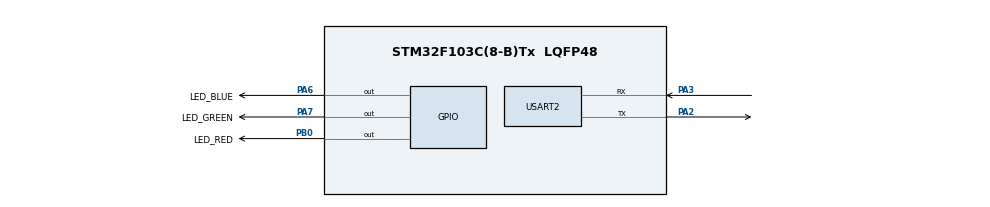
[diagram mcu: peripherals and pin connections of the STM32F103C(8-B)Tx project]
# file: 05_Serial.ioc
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Dma.Request0=USART2_TX
Dma.Request1=USART2_RX
Dma.USART2_RX.1.Direction=DMA_PERIPH_TO_MEMORY
Dma.USART2_RX.1.Instance=DMA1_Channel6
Dma.USART2_RX.1.MemDataAlignment=DMA_MDATAALIGN_BYTE
Dma.USART2_RX.1.MemInc=DMA_MINC_ENABLE
Dma.USART2_RX.1.Mode=DMA_NORMAL
Dma.USART2_RX.1.PeriphDataAlignment=DMA_PDATAALIGN_BYTE
Dma.USART2_RX.1.PeriphInc=DMA_PINC_DISABLE
Dma.USART2_RX.1.Priority=DMA_PRIORITY_LOW
Dma.USART2_TX.0.Direction=DMA_MEMORY_TO_PERIPH
Dma.USART2_TX.0.Instance=DMA1_Channel7
Dma.USART2_TX.0.MemDataAlignment=DMA_MDATAALIGN_BYTE
Dma.USART2_TX.0.MemInc=DMA_MINC_ENABLE
Dma.USART2_TX.0.Mode=DMA_NORMAL
Dma.USART2_TX.0.PeriphDataAlignment=DMA_PDATAALIGN_BYTE
Dma.USART2_TX.0.PeriphInc=DMA_PINC_DISABLE
Dma.USART2_TX.0.Priority=DMA_PRIORITY_LOW
Mcu.Family=STM32F1
Mcu.Name=STM32F103C(8-B)Tx
Mcu.Package=LQFP48
NVIC.DMA1_Channel6_IRQn=true\:0\:0\:false\:false\:true\:false\:true\:true
NVIC.DMA1_Channel7_IRQn=true\:0\:0\:false\:false\:true\:false\:true\:true
NVIC.PriorityGroup=NVIC_PRIORITYGROUP_4
NVIC.USART2_IRQn=true\:0\:0\:false\:false\:true\:true\:true\:true
PA13.Mode=Serial_Wire
PA13.Signal=SYS_JTMS-SWDIO
PA14.Mode=Serial_Wire
PA14.Signal=SYS_JTCK-SWCLK
PA2.Mode=Asynchronous
PA2.Signal=USART2_TX
PA3.Mode=Asynchronous
PA3.Signal=USART2_RX
PA6.GPIO_Label=LED_BLUE
PA6.Signal=GPIO_Output
PA7.GPIO_Label=LED_GREEN
PA7.Signal=GPIO_Output
PB0.GPIO_Label=LED_RED
PB0.Signal=GPIO_Output
ProjectManager.HeapSize=0x200
ProjectManager.StackSize=0x400
ProjectManager.TargetToolchain=STM32CubeIDE
RCC.APB1Freq_Value=8000000
RCC.APB2Freq_Value=8000000
USART2.VirtualMode=VM_ASYNC
board=custom

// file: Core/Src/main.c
/* USER CODE BEGIN Header */
/**
  ******************************************************************************
  * @file           : main.c
  * @brief          : Main program body
  ******************************************************************************
  * @attention
  *
  * Copyright (c) 2026 STMicroelectronics.
  * All rights reserved.
  *
  * This software is licensed under terms that can be found in the LICENSE file
  * in the root directory of this software component.
  * If no LICENSE file comes with this software, it is provided AS-IS.
  *
  ******************************************************************************
  */
/* USER CODE END Header */
#include "main.h"

/* USER CODE BEGIN Includes */
#include <string.h>
/* USER CODE END Includes */

UART_HandleTypeDef huart2;
DMA_HandleTypeDef hdma_usart2_tx;
DMA_HandleTypeDef hdma_usart2_rx;

/* USER CODE BEGIN PV */
uint8_t receiveData[50];
/* USER CODE END PV */

void SystemClock_Config(void);
static void MX_GPIO_Init(void);
static void MX_DMA_Init(void);
static void MX_USART2_UART_Init(void);

/* USER CODE BEGIN 0 */
void HAL_UART_RxCpltCallback(UART_HandleTypeDef *huart){
	  HAL_UART_Transmit_DMA(&huart2, receiveData, 2);
	  GPIO_PinState State = GPIO_PIN_SET;
	  if(receiveData[1] == '0'){
		  State = GPIO_PIN_RESET;
	  }
	  if(receiveData[0] == 'R'){
	  	  HAL_GPIO_WritePin(LED_RED_GPIO_Port, LED_RED_Pin, State);
	  }else if(receiveData[0] == 'G'){
		  HAL_GPIO_WritePin(LED_GREEN_GPIO_Port, LED_GREEN_Pin, State);
	  }else if(receiveData[0] == 'B'){
		  HAL_GPIO_WritePin(LED_BLUE_GPIO_Port, LED_BLUE_Pin, State);
	  }
	  HAL_UART_Receive_DMA(&huart2, receiveData, 2);
}
void HAL_UARTEx_RxEventCallback(UART_HandleTypeDef *huart, uint16_t Size){
	if(huart == &huart2){
		HAL_UART_Transmit_DMA(&huart2, receiveData, Size);

		HAL_UARTEx_ReceiveToIdle_DMA(&huart2, receiveData, sizeof(receiveData));
		__HAL_DMA_DISABLE_IT(&hdma_usart2_rx, DMA_IT_HT);
	}
}
/* USER CODE END 0 */

int main(void)
{

  /* MCU Configuration--------------------------------------------------------*/

  /* Reset of all peripherals, Initializes the Flash interface and the Systick. */
  HAL_Init();

  /* Configure the system clock */
  SystemClock_Config();

  /* Initialize all configured peripherals */
  MX_GPIO_Init();
  MX_DMA_Init();
  MX_USART2_UART_Init();
  /* USER CODE BEGIN 2 */
//  HAL_UART_Receive_DMA(&huart2, receiveData, 2);
  HAL_UARTEx_ReceiveToIdle_DMA(&huart2, receiveData, sizeof(receiveData));
  __HAL_DMA_DISABLE_IT(&hdma_usart2_rx, DMA_IT_HT);
  /* USER CODE END 2 */

  /* Infinite loop */
  /* USER CODE BEGIN WHILE */
  while (1)
  {
//	  HAL_UART_Receive(&huart2, receiveData, 2, HAL_MAX_DELAY);
//	  HAL_UART_Transmit(&huart2, receiveData, 2, 100);
//	  HAL_UART_Transmit_IT(&huart2, receiveData, 2);
//	  GPIO_PinState State = GPIO_PIN_SET;
//	  if(receiveData[1] == '0'){
//		  State = GPIO_PIN_RESET;
//	  }
//	  if(receiveData[0] == 'R'){
//	  	  HAL_GPIO_WritePin(LED_RED_GPIO_Port, LED_RED_Pin, State);
//	  }else if(receiveData[0] == 'G'){
//		  HAL_GPIO_WritePin(LED_GREEN_GPIO_Port, LED_GREEN_Pin, State);
//	  }else if(receiveData[0] == 'B'){
//		  HAL_GPIO_WritePin(LED_BLUE_GPIO_Port, LED_BLUE_Pin, State);
//	  }
//	  HAL_UART_Transmit(&huart2, (uint8_t*)message, strlen(message), 100);
//	  HAL_Delay(1000);
    /* USER CODE END WHILE */

  }
}

void SystemClock_Config(void)
{
  RCC_OscInitTypeDef RCC_OscInitStruct = {0};
  RCC_ClkInitTypeDef RCC_ClkInitStruct = {0};

  /** Initializes the RCC Oscillators according to the specified parameters
  * in the RCC_OscInitTypeDef structure.
  */
  RCC_OscInitStruct.OscillatorType = RCC_OSCILLATORTYPE_HSI;
  RCC_OscInitStruct.HSIState = RCC_HSI_ON;
  RCC_OscInitStruct.HSICalibrationValue = RCC_HSICALIBRATION_DEFAULT;
  RCC_OscInitStruct.PLL.PLLState = RCC_PLL_NONE;
  if (HAL_RCC_OscConfig(&RCC_OscInitStruct) != HAL_OK)
  {
    Error_Handler();
  }

  /** Initializes the CPU, AHB and APB buses clocks
  */
  RCC_ClkInitStruct.ClockType = RCC_CLOCKTYPE_HCLK|RCC_CLOCKTYPE_SYSCLK
                              |RCC_CLOCKTYPE_PCLK1|RCC_CLOCKTYPE_PCLK2;
  RCC_ClkInitStruct.SYSCLKSource = RCC_SYSCLKSOURCE_HSI;
  RCC_ClkInitStruct.AHBCLKDivider = RCC_SYSCLK_DIV1;
  RCC_ClkInitStruct.APB1CLKDivider = RCC_HCLK_DIV1;
  RCC_ClkInitStruct.APB2CLKDivider = RCC_HCLK_DIV1;

  if (HAL_RCC_ClockConfig(&RCC_ClkInitStruct, FLASH_LATENCY_0) != HAL_OK)
  {
    Error_Handler();
  }
}

static void MX_USART2_UART_Init(void)
{

  huart2.Instance = USART2;
  huart2.Init.BaudRate = 115200;
  huart2.Init.WordLength = UART_WORDLENGTH_8B;
  huart2.Init.StopBits = UART_STOPBITS_1;
  huart2.Init.Parity = UART_PARITY_NONE;
  huart2.Init.Mode = UART_MODE_TX_RX;
  huart2.Init.HwFlowCtl = UART_HWCONTROL_NONE;
  huart2.Init.OverSampling = UART_OVERSAMPLING_16;
  if (HAL_UART_Init(&huart2) != HAL_OK)
  {
    Error_Handler();
  }

}

static void MX_DMA_Init(void)
{

  /* DMA controller clock enable */
  __HAL_RCC_DMA1_CLK_ENABLE();

  /* DMA interrupt init */
  /* DMA1_Channel6_IRQn interrupt configuration */
  HAL_NVIC_SetPriority(DMA1_Channel6_IRQn, 0, 0);
  HAL_NVIC_EnableIRQ(DMA1_Channel6_IRQn);
  /* DMA1_Channel7_IRQn interrupt configuration */
  HAL_NVIC_SetPriority(DMA1_Channel7_IRQn, 0, 0);
  HAL_NVIC_EnableIRQ(DMA1_Channel7_IRQn);

}

static void MX_GPIO_Init(void)
{
  GPIO_InitTypeDef GPIO_InitStruct = {0};

  /* GPIO Ports Clock Enable */
  __HAL_RCC_GPIOA_CLK_ENABLE();
  __HAL_RCC_GPIOB_CLK_ENABLE();

  /*Configure GPIO pin Output Level */
  HAL_GPIO_WritePin(GPIOA, LED_BLUE_Pin|LED_GREEN_Pin, GPIO_PIN_RESET);

  /*Configure GPIO pin Output Level */
  HAL_GPIO_WritePin(LED_RED_GPIO_Port, LED_RED_Pin, GPIO_PIN_RESET);

  /*Configure GPIO pins : LED_BLUE_Pin LED_GREEN_Pin */
  GPIO_InitStruct.Pin = LED_BLUE_Pin|LED_GREEN_Pin;
  GPIO_InitStruct.Mode = GPIO_MODE_OUTPUT_PP;
  GPIO_InitStruct.Pull = GPIO_NOPULL;
  GPIO_InitStruct.Speed = GPIO_SPEED_FREQ_LOW;
  HAL_GPIO_Init(GPIOA, &GPIO_InitStruct);

  /*Configure GPIO pin : LED_RED_Pin */
  GPIO_InitStruct.Pin = LED_RED_Pin;
  GPIO_InitStruct.Mode = GPIO_MODE_OUTPUT_PP;
  GPIO_InitStruct.Pull = GPIO_NOPULL;
  GPIO_InitStruct.Speed = GPIO_SPEED_FREQ_LOW;
  HAL_GPIO_Init(LED_RED_GPIO_Port, &GPIO_InitStruct);

}

void Error_Handler(void)
{
  __disable_irq();
  while (1)
  {
  }
}
